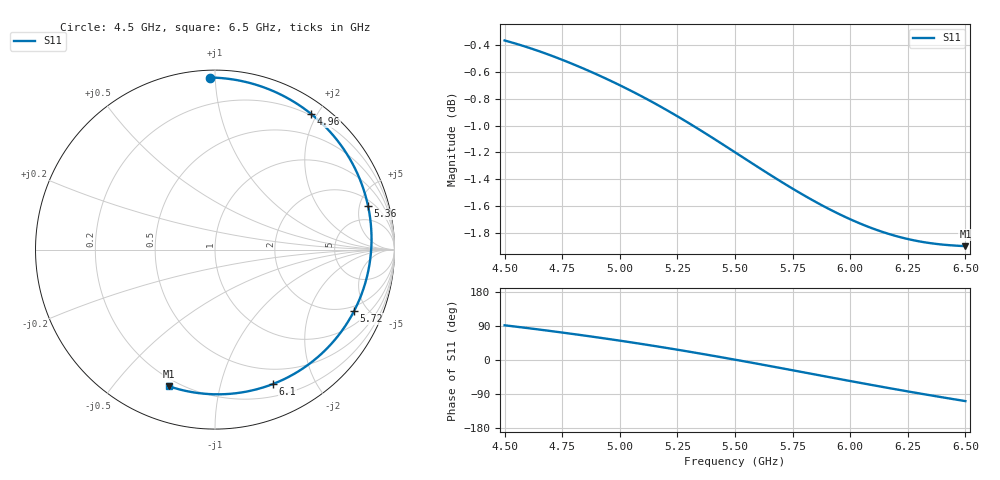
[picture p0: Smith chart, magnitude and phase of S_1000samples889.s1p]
! TOUCHSTONE file generated by CST MICROWAVE STUDIO
! Date and time: Sat Oct 29 17:17:29 2022
! Project name: L.cst
! Parameters = {Di=1.27; Epsilon_r=1.56; InnerDiameter=1.27; Length=2; Lf=10; Lg=60; OuterConductorThickness=0.2921; OuterDiameter=3.6; Wf=3; Wp=41.2; de=1.5; df=6.8; g=0.8; gx=3.36415; gy=3.14217; h=2.34; hf=1.524; px=9.81539; py=10.2632; w=9.7; wx=6.45124; wy=7.12106}
! Header version: 2018
! Port assignment regex: !\s*Touchstone port\s*([0-9]+)\s*=\s*(CST MWS port|CST DS port)\s*([0-9]+|Zmin|Zmax)\s*\(\"(.*)\"\)(\s*mode\s*([0-9]+))?.*
! Touchstone port assignment:
! Touchstone port 1 = CST MWS port 1 ("")
# GHz S DB R 50
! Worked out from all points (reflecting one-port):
!   101 points, 4.5 GHz to 6.5 GHz, reference 50 ohm
!   lowest |S11| = -1.9 dB at 6.5 GHz (marker M1), VSWR 9.17, Z = 8.23 - j35.4 ohm
!   phase of S11 starts at 92 deg and turns -200 deg over the sweep
!   S11 on the Smith chart (normalised r, x): 4.5 GHz: 0.04, +0.97; 4.96 GHz: 0.18, +1.92; 5.36 GHz: 2.67, +6.03; 5.72 GHz: 1.70, -4.10; 6.1 GHz: 0.33, -1.47; 6.5 GHz: 0.16, -0.71
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4.5  -0.36 91.6
4.58  -0.40 85.7
4.64  -0.44 81.1
4.76  -0.51 71.6
4.86  -0.59 63.3
4.96  -0.66 54.6
5  -0.70 51.1
5.12  -0.80 39.9
5.2  -0.88 32.1
5.26  -0.94 26.1
5.36  -1.05 15.8
5.44  -1.13 7.4
5.5  -1.20 0.9
5.6  -1.31 -10.2
5.66  -1.38 -16.9
5.72  -1.44 -23.7
5.76  -1.48 -28.2
5.82  -1.54 -35.1
5.88  -1.60 -41.9
5.94  -1.65 -48.7
6  -1.70 -55.5
6.1  -1.77 -66.6
6.18  -1.82 -75.4
6.26  -1.85 -83.9
6.32  -1.87 -90.2
6.38  -1.89 -96.4
6.44  -1.90 -102.5
6.5  -1.90 -108.5
